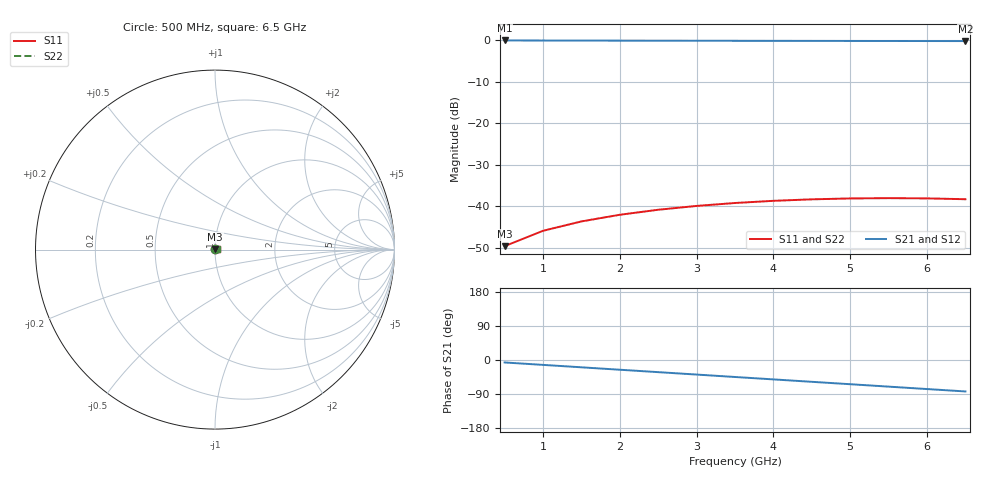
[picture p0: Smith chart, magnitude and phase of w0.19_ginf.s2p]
! Sonnet Data File
! From: em Version : 19.54.2026
! From Project: w0.19_ginf
! Data is De-embedded
! Data File Written: 11/09/2026 23:35:02
!< HDATE 11/09/2026 23:34:54
!< MDATE 11/09/2026 23:34:54
# GHZ S RI R 50.00000
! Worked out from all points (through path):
!   13 points, 500 MHz to 6.5 GHz, reference 50 ohm
!   highest |S21| = -0.03 dB at 500 MHz (marker M1); lowest = -0.2 dB at 6.5 GHz (marker M2)
!   group delay of S21, straight-line fit = 35.4 ps
!   lowest |S11| = -49.6 dB at 500 MHz (marker M3), VSWR 1.01, Z = 50.1 + j0.299 ohm
!   |S11| at or under -10 dB: start of sweep to end of sweep
!   |S22| runs from -49.6 to -38.1 dB; largest |S21 - S12| = 1.5e-12
0.5  0.0014 0.00298  0.9906 -0.1125  0.9906 -0.1125  0.0014 0.00298
1  0.00204 0.00462  0.97 -0.2219  0.97 -0.2219  0.00204 0.00462
1.5  0.00277 0.00594  0.9377 -0.3281  0.9377 -0.3281  0.00277 0.00594
2  0.00363 0.00699  0.894 -0.4297  0.894 -0.4297  0.00363 0.00699
2.5  0.00463 0.00779  0.8394 -0.5256  0.8394 -0.5256  0.00463 0.00779
3  0.0057 0.00831  0.7747 -0.6148  0.7747 -0.6148  0.0057 0.00831
3.5  0.00681 0.00855  0.7006 -0.696  0.7006 -0.696  0.00681 0.00855
4  0.00789 0.00851  0.6182 -0.7684  0.6182 -0.7684  0.00789 0.00851
4.5  0.00889 0.0082  0.5285 -0.8311  0.5285 -0.8311  0.00889 0.0082
5  0.00975 0.00766  0.4325 -0.8834  0.4325 -0.8834  0.00975 0.00766
5.5  0.0104 0.00692  0.3315 -0.9246  0.3315 -0.9246  0.0104 0.00692
6  0.0109 0.00602  0.2268 -0.9544  0.2268 -0.9544  0.0109 0.00602
6.5  0.011 0.00504  0.1196 -0.9724  0.1196 -0.9724  0.011 0.00504
